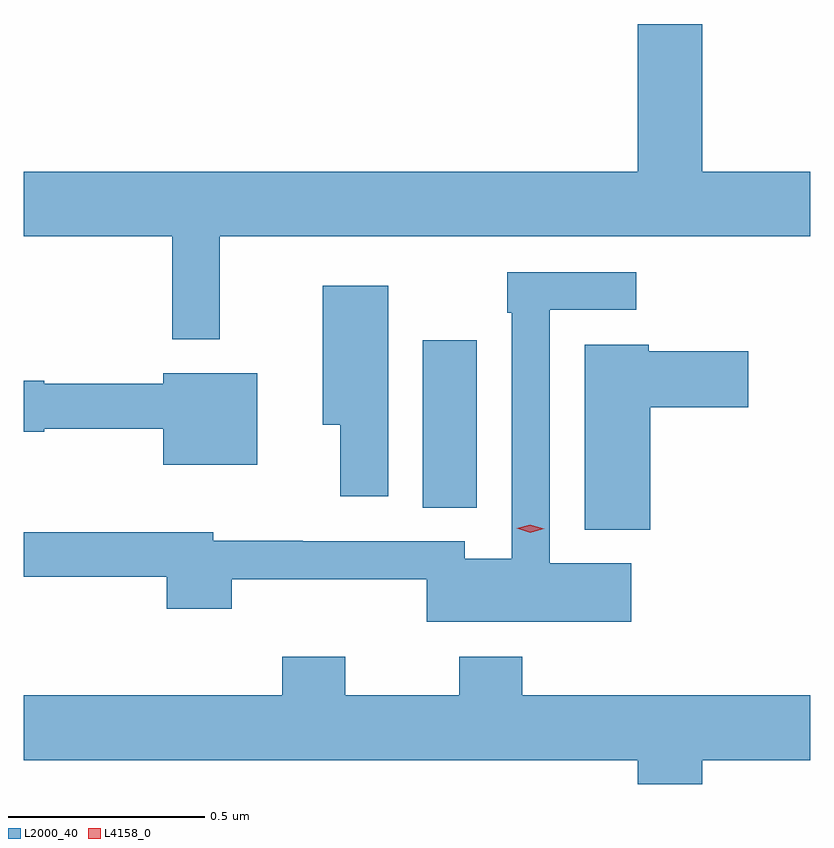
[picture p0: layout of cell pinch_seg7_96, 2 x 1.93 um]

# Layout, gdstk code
import gdstk
lib = gdstk.Library(unit=1e-6, precision=1e-09)
def R(c, l, rs):  # rectangles x0, y0, x1, y1
    for r in rs: c.add(gdstk.rectangle(r[:2], r[2:], *l))
def P(c, l, *ps):  # polygons
    for p in ps: c.add(gdstk.Polygon(p, *l))
L2000_40 = (2000, 40)
L4158_0 = (4158, 0)

pinch_seg7_96 = lib.new_cell('pinch_seg7_96')
R(pinch_seg7_96, L2000_40, [(955.67,1003.921,955.807,1004.347)])
P(pinch_seg7_96, L2000_40, [(954.655,1004.612),(955.033,1004.612),(955.033,1004.349),(955.154,1004.349),(955.154,1004.612),(956.655,1004.612),(956.655,1004.776),(956.38,1004.776),(956.38,1005.151),(956.216,1005.151),(956.216,1004.776),(954.655,1004.776)],
  [(956.2,1003.78),(955.992,1003.78),(955.992,1004.424),(956.212,1004.424),(956.212,1004.52),(955.884,1004.52),(955.884,1004.417),(955.896,1004.417),(955.896,1003.792),(955.776,1003.792),(955.776,1003.836),(955.364,1003.836),(955.364,1003.838),(955.137,1003.838),(955.137,1003.859),(954.655,1003.859),(954.655,1003.746),(955.019,1003.746),(955.019,1003.664),(955.184,1003.664),(955.184,1003.739),(955.68,1003.739),(955.68,1003.631),(956.2,1003.631)],
  [(955.582,1004.485),(955.415,1004.485),(955.415,1004.132),(955.46,1004.132),(955.46,1003.95),(955.582,1003.95)],
  [(956.248,1004.177),(956.497,1004.177),(956.497,1004.319),(956.244,1004.319),(956.244,1004.335),(956.081,1004.335),(956.081,1003.865),(956.248,1003.865)],
  [(955.249,1004.263),(955.01,1004.263),(955.01,1004.236),(954.708,1004.236),(954.708,1004.244),(954.655,1004.244),(954.655,1004.114),(954.708,1004.114),(954.708,1004.122),(955.01,1004.122),(955.01,1004.03),(955.249,1004.03)],
  [(956.38,1003.28),(956.655,1003.28),(956.655,1003.444),(955.922,1003.444),(955.922,1003.543),(955.762,1003.543),(955.762,1003.444),(955.473,1003.444),(955.473,1003.543),(955.313,1003.543),(955.313,1003.444),(954.655,1003.444),(954.655,1003.28),(956.216,1003.28),(956.216,1003.219),(956.38,1003.219)])
P(pinch_seg7_96, L4158_0, [(955.943,1003.858),(955.908,1003.869),(955.908,1003.869),(955.908,1003.869),(955.943,1003.878),(955.978,1003.868),(955.978,1003.868),(955.978,1003.868)])

lib.write_gds('pinch_seg7_96.gds')
